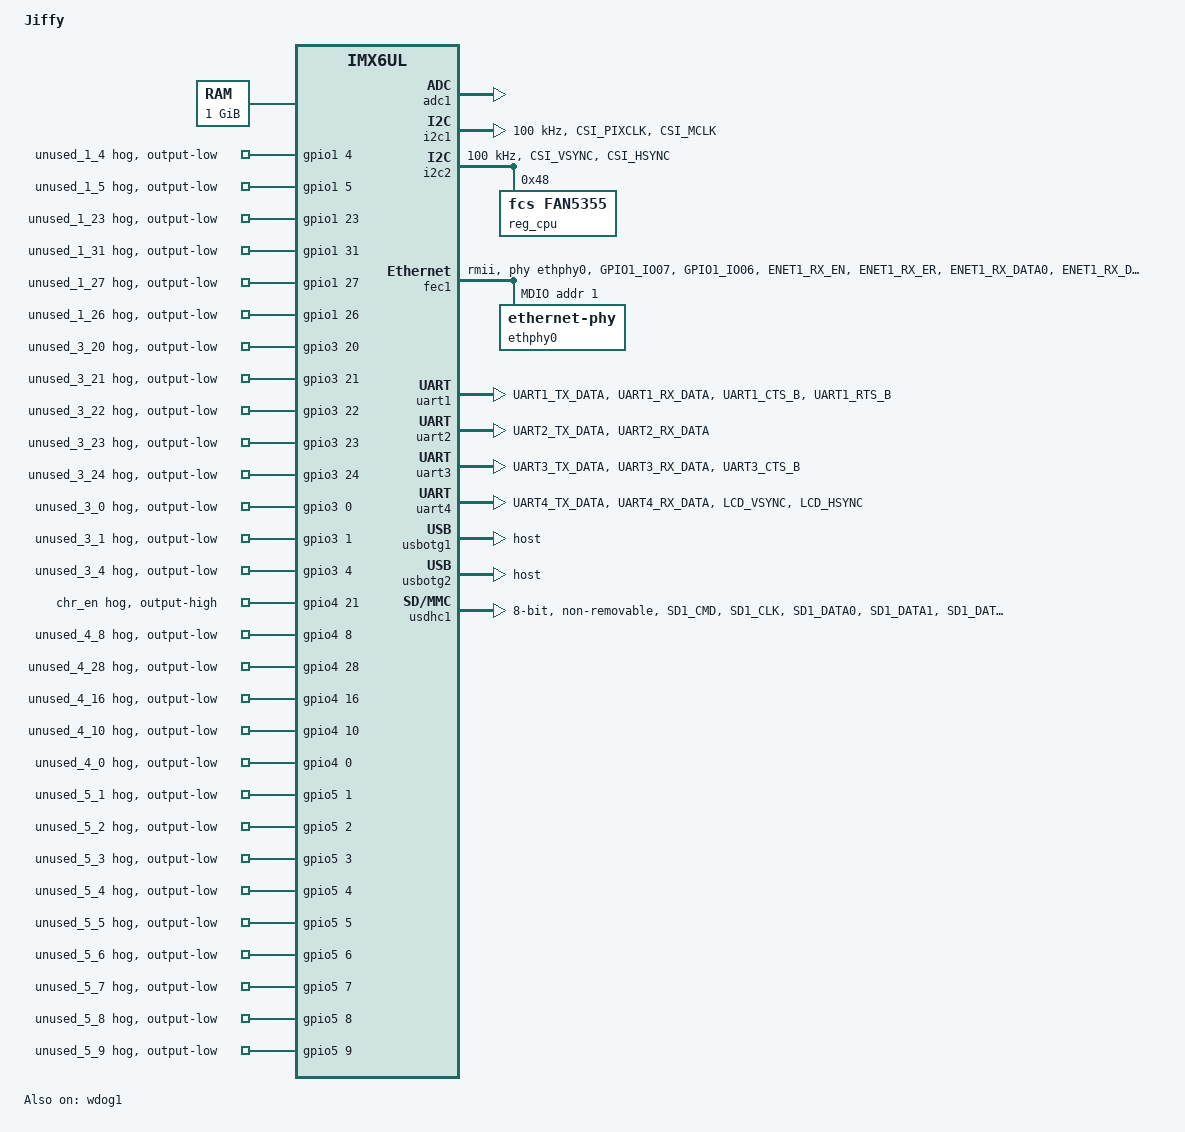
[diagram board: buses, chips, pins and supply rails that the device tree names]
// SPDX-License-Identifier: GPL-2.0
/*
	* Jiffy R1, i.MX6UL development board
	*
	* Ported from the 2020 Buildroot setup (Linux 5.7).
	*/

/dts-v1/;

#include "imx6ul.dtsi"

/ {
	model = "Jiffy";
	compatible = "fsl,imx6ul-14x14-evk", "fsl,imx6ul";

	memory@80000000 {
		device_type = "memory";
		reg = <0x80000000 0x40000000>;
	};

	/*
		* punchboot patches these properties in place, it doesn't grow the
		* DTB (punchboot F-071). The placeholders reserve the space.
		*/
	/* punchboot adds bootargs, the initrd and its pb,* properties */
	chosen {
		stdout-path = &uart2;
	};
};

&adc1 {
	status = "okay";
};

&clks {
	assigned-clocks = <&clks IMX6UL_CLK_PLL4_AUDIO_DIV>;
	assigned-clock-rates = <786432000>;
};

&cpu0 {
	vcc-operating-points = <
		/* KHz  uV */
		696000  1400000
		528000  1300000
		396000  1300000
		198000  1300000
	>;
	clock-frequency = <528000000>;
	arm-supply = <&reg_arm>;
	soc-supply = <&reg_soc>;
	vcc-supply = <&reg_cpu>;
};

&i2c1 {
	clock-frequency = <100000>;
	pinctrl-names = "default";
	pinctrl-0 = <&pinctrl_i2c1>;
	status = "okay";
};

&i2c2 {
	clock-frequency = <100000>;
	pinctrl-names = "default";
	pinctrl-0 = <&pinctrl_i2c2>;
	status = "okay";

	reg_cpu: regulator@48 {
		compatible = "fcs,fan5355";
		regulator-name = "fan5355";
		reg = <0x48>;
		regulator-min-microvolt = <900000>;
		regulator-max-microvolt = <1450000>;
		regulator-boot-on;
		regulator-ramp-delay = <1000>;
		regulator-always-on;
	};
};

&fec1 {
	pinctrl-names = "default";
	pinctrl-0 = <&pinctrl_enet1>;
	phy-mode = "rmii";
	phy-handle = <&ethphy0>;
	/* The LAN8710A doesn't answer on MDIO with 1 ms reset timings */
	phy-reset-gpios = <&gpio1 22 GPIO_ACTIVE_LOW>;
	phy-reset-duration = <10>;
	phy-reset-post-delay = <10>;
	status = "okay";
	mac-address = [5e fd f9 ca b5 3e];
	mdio {
		#address-cells = <1>;
		#size-cells = <0>;

		ethphy0: ethernet-phy@1 {
			reg = <1>;
			status = "okay";
		};
	};
};

&snvs_poweroff {
	status = "okay";
};

&uart1 {
	pinctrl-names = "default";
	pinctrl-0 = <&pinctrl_uart1>;
	uart-has-rtscts;
	status = "okay";
};

&uart2 {
	pinctrl-names = "default";
	pinctrl-0 = <&pinctrl_uart2>;
	status = "okay";
};

&uart3 {
	pinctrl-names = "default";
	pinctrl-0 = <&pinctrl_uart3>;
	status = "okay";
	uart-has-rtscts;
};

&uart4 {
	pinctrl-names = "default";
	pinctrl-0 = <&pinctrl_uart4>;
	uart-has-rtscts;
	status = "okay";
};

&usbotg1 {
	dr_mode = "host";
	status = "okay";
};

&usbotg2 {
	dr_mode = "host";
	disable-over-current;
	status = "okay";
};

&usdhc1 {
	pinctrl-names = "default";
	pinctrl-0 = <&pinctrl_usdhc1>;
	bus-width = <8>;
	no-1-8-v;
	non-removable;
	keep-power-in-suspend;
	status = "okay";
};

&gpio1 {
	unused_pins_gpio1_4 {
		gpio-hog;
		gpios = <4 GPIO_ACTIVE_HIGH>;
		output-low;
		line-name = "unused_1_4";
	};
	unused_pins_gpio1_5 {
		gpio-hog;
		gpios = <5 GPIO_ACTIVE_HIGH>;
		output-low;
		line-name = "unused_1_5";
	};
	unused_pins_gpio1_23 {
		gpio-hog;
		gpios = <23 GPIO_ACTIVE_HIGH>;
		output-low;
		line-name = "unused_1_23";
	};
	unused_pins_gpio1_31 {
		gpio-hog;
		gpios = <31 GPIO_ACTIVE_HIGH>;
		output-low;
		line-name = "unused_1_31";
	};
	unused_pins_gpio1_27 {
		gpio-hog;
		gpios = <27 GPIO_ACTIVE_HIGH>;
		output-low;
		line-name = "unused_1_27";
	};

	unused_pins_gpio1_26 {
		gpio-hog;
		gpios = <26 GPIO_ACTIVE_HIGH>;
		output-low;
		line-name = "unused_1_26";
	};
};

&gpio3 {
	unused_pins_gpio3_20 {
		gpio-hog;
		gpios = <20 GPIO_ACTIVE_HIGH>;
		output-low;
		line-name = "unused_3_20";
	};

	unused_pins_gpio3_21 {
		gpio-hog;
		gpios = <21 GPIO_ACTIVE_HIGH>;
		output-low;
		line-name = "unused_3_21";
	};

	unused_pins_gpio3_22 {
		gpio-hog;
		gpios = <22 GPIO_ACTIVE_HIGH>;
		output-low;
		line-name = "unused_3_22";
	};

	unused_pins_gpio3_23 {
		gpio-hog;
		gpios = <23 GPIO_ACTIVE_HIGH>;
		output-low;
		line-name = "unused_3_23";
	};

	unused_pins_gpio3_24 {
		gpio-hog;
		gpios = <24 GPIO_ACTIVE_HIGH>;
		output-low;
		line-name = "unused_3_24";
	};

	unused_pins_gpio3_0 {
		gpio-hog;
		gpios = <0 GPIO_ACTIVE_HIGH>;
		output-low;
		line-name = "unused_3_0";
	};

	unused_pins_gpio3_1 {
		gpio-hog;
		gpios = <1 GPIO_ACTIVE_HIGH>;
		output-low;
		line-name = "unused_3_1";
	};

	unused_pins_gpio3_4 {
		gpio-hog;
		gpios = <4 GPIO_ACTIVE_HIGH>;
		output-low;
		line-name = "unused_3_4";
	};
};

&gpio4 {
	chr_en {
		gpio-hog;
		gpios = <21 GPIO_ACTIVE_HIGH>;
		output-high;
		line-name = "chr_en";
	};

	unused_pins_gpio4_8 {
		gpio-hog;
		gpios = <8 GPIO_ACTIVE_HIGH>;
		output-low;
		line-name = "unused_4_8";
	};

	unused_pins_gpio4_28 {
		gpio-hog;
		gpios = <28 GPIO_ACTIVE_HIGH>;
		output-low;
		line-name = "unused_4_28";
	};

	unused_pins_gpio4_16 {
		gpio-hog;
		gpios = <16 GPIO_ACTIVE_HIGH>;
		output-low;
		line-name = "unused_4_16";
	};

	unused_pins_gpio4_10 {
		gpio-hog;
		gpios = <10 GPIO_ACTIVE_HIGH>;
		output-low;
		line-name = "unused_4_10";
	};

	unused_pins_gpio4_0 {
		gpio-hog;
		gpios = <0 GPIO_ACTIVE_HIGH>;
		output-low;
		line-name = "unused_4_0";
	};
};

&gpio5 {
	unused_pins_gpio5_1 {
		gpio-hog;
		gpios = <1 GPIO_ACTIVE_HIGH>;
		output-low;
		line-name = "unused_5_1";
	};

	unused_pins_gpio5_2 {
		gpio-hog;
		gpios = <2 GPIO_ACTIVE_HIGH>;
		output-low;
		line-name = "unused_5_2";
	};

	unused_pins_gpio5_3 {
		gpio-hog;
		gpios = <3 GPIO_ACTIVE_HIGH>;
		output-low;
		line-name = "unused_5_3";
	};

	unused_pins_gpio5_4 {
		gpio-hog;
		gpios = <4 GPIO_ACTIVE_HIGH>;
		output-low;
		line-name = "unused_5_4";
	};

	unused_pins_gpio5_5 {
		gpio-hog;
		gpios = <5 GPIO_ACTIVE_HIGH>;
		output-low;
		line-name = "unused_5_5";
	};

	unused_pins_gpio5_6 {
		gpio-hog;
		gpios = <6 GPIO_ACTIVE_HIGH>;
		output-low;
		line-name = "unused_5_6";
	};

	unused_pins_gpio5_7 {
		gpio-hog;
		gpios = <7 GPIO_ACTIVE_HIGH>;
		output-low;
		line-name = "unused_5_7";
	};

	unused_pins_gpio5_8 {
		gpio-hog;
		gpios = <8 GPIO_ACTIVE_HIGH>;
		output-low;
		line-name = "unused_5_8";
	};

	unused_pins_gpio5_9 {
		gpio-hog;
		gpios = <9 GPIO_ACTIVE_HIGH>;
		output-low;
		line-name = "unused_5_9";
	};
};

&wdog1 {
	status = "okay";
};

&iomuxc {
	pinctrl-names = "default";
	pinctrl_enet1: enet1grp {
		fsl,pins = <
			MX6UL_PAD_GPIO1_IO07__ENET1_MDC		0x1b0b0
			MX6UL_PAD_GPIO1_IO06__ENET1_MDIO	0x1b0b0
			MX6UL_PAD_ENET1_RX_EN__ENET1_RX_EN	0x1b0b0
			MX6UL_PAD_ENET1_RX_ER__ENET1_RX_ER	0x1b0b0
			MX6UL_PAD_ENET1_RX_DATA0__ENET1_RDATA00	0x1b0b0
			MX6UL_PAD_ENET1_RX_DATA1__ENET1_RDATA01	0x1b0b0
			MX6UL_PAD_ENET1_TX_EN__ENET1_TX_EN	0x1b0b0
			MX6UL_PAD_ENET1_TX_DATA0__ENET1_TDATA00	0x1b0b0
			MX6UL_PAD_ENET1_TX_DATA1__ENET1_TDATA01	0x1b0b0
			MX6UL_PAD_ENET1_TX_CLK__ENET1_REF_CLK1	0x4001b031
			MX6UL_PAD_UART2_CTS_B__GPIO1_IO22	0x17059
		>;
	};

	pinctrl_enet2: enet2grp {
		fsl,pins = <
			MX6UL_PAD_ENET2_RX_EN__ENET2_RX_EN	0x1b0b0
			MX6UL_PAD_ENET2_RX_ER__ENET2_RX_ER	0x1b0b0
			MX6UL_PAD_ENET2_RX_DATA0__ENET2_RDATA00	0x1b0b0
			MX6UL_PAD_ENET2_RX_DATA1__ENET2_RDATA01	0x1b0b0
			MX6UL_PAD_ENET2_TX_EN__ENET2_TX_EN	0x1b0b0
			MX6UL_PAD_ENET2_TX_DATA0__ENET2_TDATA00	0x1b0b0
			MX6UL_PAD_ENET2_TX_DATA1__ENET2_TDATA01	0x1b0b0
			MX6UL_PAD_ENET2_TX_CLK__ENET2_REF_CLK2	0x4001b031
		>;
	};

	pinctrl_flexcan1: flexcan1grp{
		fsl,pins = <
			MX6UL_PAD_LCD_DATA09__FLEXCAN1_RX	0x1b020
			MX6UL_PAD_LCD_DATA08__FLEXCAN1_TX	0x1b020
		>;
	};

	pinctrl_i2c1: i2c1grp {
		fsl,pins = <
			MX6UL_PAD_CSI_PIXCLK__I2C1_SCL 0x4001b8b0
			MX6UL_PAD_CSI_MCLK__I2C1_SDA 0x4001b8b0
		>;
	};

	pinctrl_i2c2: i2c2grp {
		fsl,pins = <
			MX6UL_PAD_CSI_VSYNC__I2C2_SDA 0x4001b8b1
			MX6UL_PAD_CSI_HSYNC__I2C2_SCL 0x4001b8b1
		>;
	};

	pinctrl_uart1: uart1grp {
		fsl,pins = <
			MX6UL_PAD_UART1_TX_DATA__UART1_DCE_TX 0x1b0b1
			MX6UL_PAD_UART1_RX_DATA__UART1_DCE_RX 0x1b0b1
			MX6UL_PAD_UART1_CTS_B__UART1_DCE_CTS 0x1b0b1
			MX6UL_PAD_UART1_RTS_B__UART1_DCE_RTS 0x1b0b1
		>;
	};

	pinctrl_uart2: uart2grp {
		fsl,pins = <
			MX6UL_PAD_UART2_TX_DATA__UART2_DCE_TX	0x1b0b1
			MX6UL_PAD_UART2_RX_DATA__UART2_DCE_RX	0x1b0b1
		>;
	};

	pinctrl_uart3: uart3grp {
		fsl,pins = <
			MX6UL_PAD_UART3_TX_DATA__UART3_DCE_TX 0x1b0b1
			MX6UL_PAD_UART3_RX_DATA__UART3_DCE_RX 0x1b0b1
			/*MX6UL_PAD_UART3_CTS_B__UART3_DCE_CTS 0x1b0b1 */
			MX6UL_PAD_UART3_CTS_B__GPIO1_IO26 0x170f9
		>;
	};

	pinctrl_uart4: uart4grp {
		fsl,pins = <
			MX6UL_PAD_UART4_TX_DATA__UART4_DCE_TX 0x1b0b1
			MX6UL_PAD_UART4_RX_DATA__UART4_DCE_RX 0x1b0b1
			MX6UL_PAD_LCD_VSYNC__UART4_DCE_RTS 0x1b0b1
			MX6UL_PAD_LCD_HSYNC__UART4_DCE_CTS 0x1b0b1
		>;
	};

	pinctrl_usdhc1: usdhc1grp {
		fsl,pins = <
			MX6UL_PAD_SD1_CMD__USDHC1_CMD     0x170f9
			MX6UL_PAD_SD1_CLK__USDHC1_CLK     0x100f9
			MX6UL_PAD_SD1_DATA0__USDHC1_DATA0 0x170f9
			MX6UL_PAD_SD1_DATA1__USDHC1_DATA1 0x170f9
			MX6UL_PAD_SD1_DATA2__USDHC1_DATA2 0x170f9
			MX6UL_PAD_SD1_DATA3__USDHC1_DATA3 0x170f9
			MX6UL_PAD_NAND_READY_B__USDHC1_DATA4 0x170f9
			MX6UL_PAD_NAND_CE0_B__USDHC1_DATA5 0x170f9
			MX6UL_PAD_NAND_CE1_B__USDHC1_DATA6 0x170f9
			MX6UL_PAD_NAND_CLE__USDHC1_DATA7 0x170f9
		>;
	};

	pinctrl_ecspi1: ecspi1 {
		fsl,pins = <
			MX6UL_PAD_LCD_DATA20__ECSPI1_SCLK 0x100b1
			MX6UL_PAD_LCD_DATA22__ECSPI1_MOSI 0x100b1
			MX6UL_PAD_LCD_DATA23__ECSPI1_MISO 0x100b1
			MX6UL_PAD_LCD_DATA21__GPIO3_IO26 0x80000000
			MX6UL_PAD_LCD_DATA05__GPIO3_IO10 0x80000000
		>;
	};

	pinctrl_gpio: gpio_hog {
		fsl,pins = <
			MX6UL_PAD_LCD_DATA11__GPIO3_IO16	0x17059 /* 5V_USB_EN */
			MX6UL_PAD_GPIO1_IO03__GPIO1_IO03	0x17059 /* IMX_5V_USB_EN */
			MX6UL_PAD_NAND_DATA00__GPIO4_IO02	0x17059 /* ZB_RESET_N */
			MX6UL_PAD_NAND_DATA01__GPIO4_IO03	0x17059 /* ZB_FIFO_H */
			MX6UL_PAD_NAND_DATA02__GPIO4_IO04	0x17059 /* ZB_FIFO_L */
			MX6UL_PAD_NAND_DATA03__GPIO4_IO05	0x17059 /* ZB_CCA */
			MX6UL_PAD_NAND_DATA04__GPIO4_IO06	0x17059 /* ZB_SFD */
			MX6UL_PAD_NAND_DATA05__GPIO4_IO07	0x17059 /* ZB_VREG_EN */
			MX6UL_PAD_CSI_DATA00__GPIO4_IO21	0x17059 /* CHR_EN */
			MX6UL_PAD_LCD_DATA12__GPIO3_IO17	0x17059 /* AUX_5V_EN*/
			MX6UL_PAD_LCD_DATA13__GPIO3_IO18	0x17059 /* USB_5V_FAULT_N */
			MX6UL_PAD_LCD_DATA14__GPIO3_IO19	0x17059 /* AUX_5V_FAULT_N */
			MX6UL_PAD_CSI_DATA04__GPIO4_IO25	0x17059 /* P5V_MEAS */
			MX6UL_PAD_NAND_DATA07__GPIO4_IO09	0x17059 /* CAN_STB */
		>;
	};

	pinctrl_unused: gpio_hog_unused {
		fsl,pins = <
			MX6UL_PAD_GPIO1_IO04__GPIO1_IO04	0x17059
			MX6UL_PAD_GPIO1_IO05__GPIO1_IO05	0x17059
			MX6UL_PAD_NAND_DATA06__GPIO4_IO08	0x17059
			MX6UL_PAD_NAND_DQS__GPIO4_IO16		0x17059
			MX6UL_PAD_NAND_ALE__GPIO4_IO10		0x17059
			MX6UL_PAD_NAND_RE_B__GPIO4_IO00		0x17059
			MX6UL_PAD_SNVS_TAMPER1__GPIO5_IO01	0x17059
			MX6UL_PAD_SNVS_TAMPER2__GPIO5_IO02	0x17059
			MX6UL_PAD_SNVS_TAMPER3__GPIO5_IO03	0x17059
			MX6UL_PAD_SNVS_TAMPER4__GPIO5_IO04	0x17059
			MX6UL_PAD_SNVS_TAMPER5__GPIO5_IO05	0x17059
			MX6UL_PAD_SNVS_TAMPER6__GPIO5_IO06	0x17059
			MX6UL_PAD_SNVS_TAMPER7__GPIO5_IO07	0x17059
			MX6UL_PAD_SNVS_TAMPER8__GPIO5_IO08	0x17059
			MX6UL_PAD_SNVS_TAMPER9__GPIO5_IO09	0x17059

			MX6UL_PAD_UART2_RTS_B__GPIO1_IO23	0x17059
			MX6UL_PAD_CSI_DATA07__GPIO4_IO28	0x17059
			MX6UL_PAD_UART5_RX_DATA__GPIO1_IO31	0x17059
			MX6UL_PAD_UART3_RTS_B__GPIO1_IO27	0x17059
			MX6UL_PAD_LCD_DATA15__GPIO3_IO20	0x17059
			MX6UL_PAD_LCD_DATA16__GPIO3_IO21	0x17059
			MX6UL_PAD_LCD_DATA17__GPIO3_IO22	0x17059
			MX6UL_PAD_LCD_DATA18__GPIO3_IO23	0x17059
			MX6UL_PAD_LCD_DATA19__GPIO3_IO24	0x17059
			MX6UL_PAD_LCD_CLK__GPIO3_IO00		0x17059
			MX6UL_PAD_LCD_ENABLE__GPIO3_IO01	0x17059
			MX6UL_PAD_LCD_RESET__GPIO3_IO04		0x17059

			>;
	};
};
